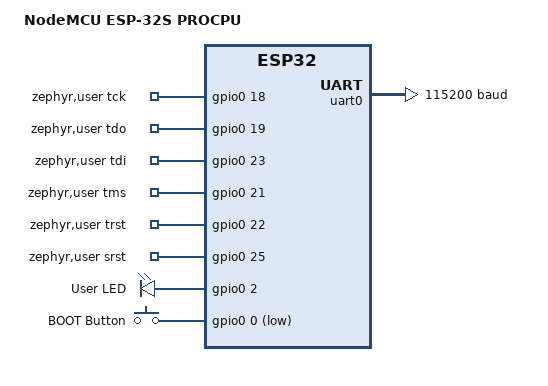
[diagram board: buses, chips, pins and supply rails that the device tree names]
/*
 * SPDX-License-Identifier: Apache-2.0
 */
/dts-v1/;

#include <espressif/esp32/esp32_wroom_32ue_n4.dtsi>
#include "nodemcu_esp32s-pinctrl.dtsi"
#include <zephyr/dt-bindings/input/input-event-codes.h>
#include <espressif/partitions_0x1000_amp.dtsi>

/ {
	model = "NodeMCU ESP-32S PROCPU";
	compatible = "espressif,esp32";

	aliases {
		uart-0 = &uart0;
		sw0 = &button0;
		led0 = &blue_led;
		watchdog0 = &wdt0;
	};

	chosen {
		zephyr,sram = &sram1;
		zephyr,console = &uart0;
		zephyr,shell-uart = &uart0;
		zephyr,flash = &flash0;
		zephyr,code-partition = &slot0_partition;
	};

	zephyr,user {
		/*
		 * DirtyJTAG external probe header.
		 * Avoid ESP32 boot strapping pins 0/2/4/5/12/15 so an attached
		 * target cannot easily hold the module in the wrong boot mode.
		 */
		tck-gpios = <&gpio0 18 GPIO_ACTIVE_HIGH>;
		tdo-gpios = <&gpio0 19 GPIO_ACTIVE_HIGH>;
		tdi-gpios = <&gpio0 23 GPIO_ACTIVE_HIGH>;
		tms-gpios = <&gpio0 21 GPIO_ACTIVE_HIGH>;
		trst-gpios = <&gpio0 22 GPIO_ACTIVE_HIGH>;
		srst-gpios = <&gpio0 25 GPIO_ACTIVE_HIGH>;
	};

	leds {
		compatible = "gpio-leds";

		blue_led: blue_led {
			gpios = <&gpio0 2 GPIO_ACTIVE_HIGH>;
			label = "User LED";
		};
	};

	buttons {
		compatible = "gpio-keys";

		button0: button_0 {
			gpios = <&gpio0 0 (GPIO_PULL_UP | GPIO_ACTIVE_LOW)>;
			label = "BOOT Button";
			zephyr,code = <INPUT_KEY_0>;
		};
	};
};

&uart0 {
	status = "okay";
	current-speed = <115200>;
	pinctrl-0 = <&uart0_default>;
	pinctrl-names = "default";
};

&gpio0 {
	status = "okay";
};

&gpio1 {
	status = "okay";
};

&timer0 {
	status = "disabled";
};

&timer1 {
	status = "disabled";
};

&timer2 {
	status = "disabled";
};

&timer3 {
	status = "disabled";
};
